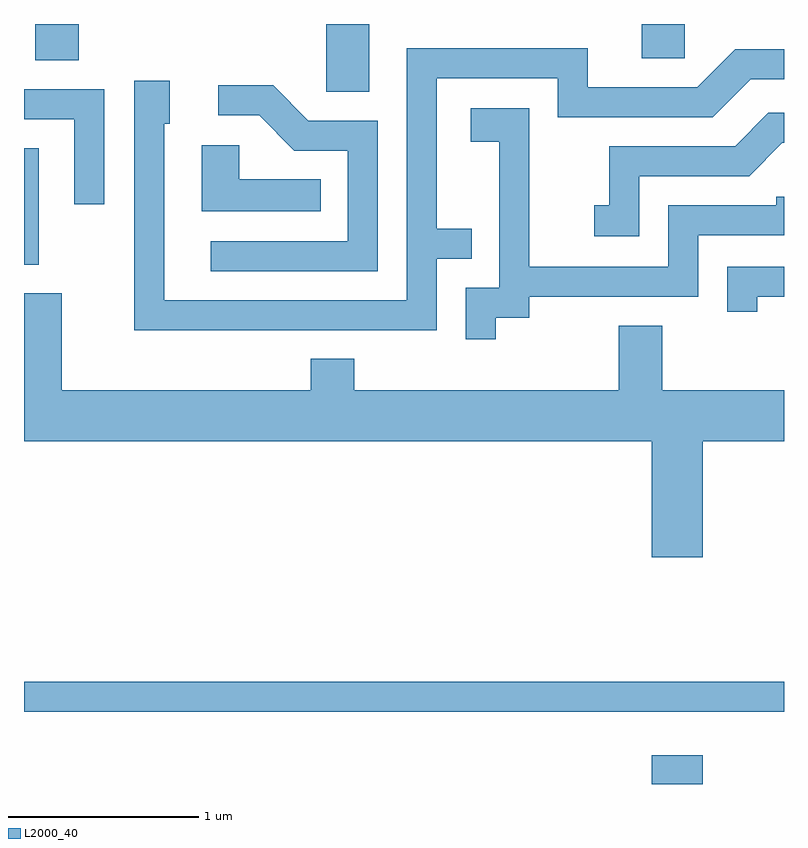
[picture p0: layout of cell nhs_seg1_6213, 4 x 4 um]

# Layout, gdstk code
import gdstk
lib = gdstk.Library(unit=1e-6, precision=1e-09)
def R(c, l, rs):  # rectangles x0, y0, x1, y1
    for r in rs: c.add(gdstk.rectangle(r[:2], r[2:], *l))
def P(c, l, *ps):  # polygons
    for p in ps: c.add(gdstk.Polygon(p, *l))
L2000_40 = (2000, 40)

nhs_seg1_6213 = lib.new_cell('nhs_seg1_6213')
R(nhs_seg1_6213, L2000_40, [(374.916,957.712,375.184,957.864), (371.611,958.091,375.611,958.249), (371.611,960.446,371.689,961.059), (373.201,961.356,373.429,961.712), (371.671,961.521,371.899,961.712), (374.861,961.531,375.089,961.712)])
P(nhs_seg1_6213, L2000_40, [(373.784,960.476),(373.968,960.476),(373.968,960.634),(373.784,960.634),(373.784,961.426),(374.421,961.426),(374.421,961.221),(375.237,961.221),(375.437,961.421),(375.611,961.421),(375.611,961.579),(375.354,961.579),(375.154,961.379),(374.579,961.379),(374.579,961.584),(373.626,961.584),(373.626,960.259),(372.349,960.259),(372.349,961.186),(372.379,961.186),(372.379,961.414),(372.191,961.414),(372.191,960.101),(373.784,960.101)],
  [(373.474,961.204),(373.107,961.204),(372.922,961.389),(372.633,961.389),(372.633,961.231),(372.849,961.231),(373.034,961.046),(373.316,961.046),(373.316,960.569),(372.593,960.569),(372.593,960.411),(373.474,960.411)],
  [(372.034,961.369),(371.611,961.369),(371.611,961.211),(371.876,961.211),(371.876,960.763),(372.034,960.763)],
  [(374.094,960.166),(374.269,960.166),(374.269,960.276),(375.159,960.276),(375.159,960.601),(375.611,960.601),(375.611,960.804),(375.571,960.804),(375.571,960.759),(375.001,960.759),(375.001,960.434),(374.269,960.434),(374.269,961.269),(373.961,961.269),(373.961,961.091),(374.111,961.091),(374.111,960.324),(373.936,960.324),(373.936,960.053),(374.094,960.053)],
  [(374.849,960.911),(375.427,960.911),(375.602,961.086),(375.611,961.086),(375.611,961.244),(375.529,961.244),(375.354,961.069),(374.691,961.069),(374.691,960.759),(374.613,960.759),(374.613,960.596),(374.849,960.596)],
  [(373.173,960.894),(372.744,960.894),(372.744,961.074),(372.546,961.074),(372.546,960.726),(373.173,960.726)],
  [(375.469,960.276),(375.611,960.276),(375.611,960.434),(375.311,960.434),(375.311,960.198),(375.469,960.198)],
  [(375.184,959.516),(375.611,959.516),(375.611,959.784),(374.969,959.784),(374.969,960.124),(374.741,960.124),(374.741,959.784),(373.349,959.784),(373.349,959.949),(373.121,959.949),(373.121,959.784),(371.809,959.784),(371.809,960.294),(371.611,960.294),(371.611,959.516),(374.916,959.516),(374.916,958.906),(375.184,958.906)])

lib.write_gds('nhs_seg1_6213.gds')
